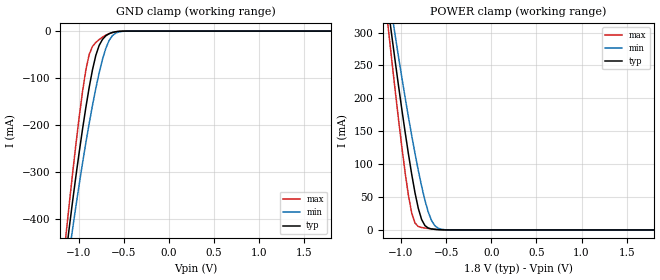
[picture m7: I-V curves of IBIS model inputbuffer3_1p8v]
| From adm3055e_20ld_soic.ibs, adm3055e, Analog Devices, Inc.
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|   Model: inputbuffer3_1p8v
[Model]   inputbuffer3_1p8v
Model_type Input
Vinl=0.63
Vinh=1.17
|   variable   typ   min   max
C_comp   2.711574e-12 2.536137e-12 2.929808e-12
[Temperature Range]   25   105   -40
[Voltage Range]   1.8   1.7   1.9
[Power Clamp Reference] 1.8   1.7   1.9
[GND Clamp Reference]   0   0   0
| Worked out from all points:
|   GND clamp passes 1 mA (typ) near -0.57 V on its own axis
|   POWER clamp passes 1 mA (typ) near -0.63 V on its own axis
[Power_clamp]
| Voltage   I(typ)   I(min)   I(max)
-1.8V     1.134A     1.044A     1.248A
-1.139V   333.9mA    363.3mA    303.8mA
-1.102V   295.1mA    329.4mA    257.8mA
-1.065V   257.2mA    296.3mA    212.9mA
-991.8mV  184.2mA    232.5mA    127.3mA
-918.4mV  116.1mA    172.2mA    53.1mA
-881.6mV  84.8mA     143.6mA    25.9mA
-808.2mV  32.75mA    90.35mA    5.267mA
-734.7mV  6.617mA    44.98mA    2.925mA
-661.2mV  1.517mA    14.2mA     1.58mA
-551mV    279.1uA    1.008mA    312.6uA
1.8V      -29.23pA   -2.186nA   -22.52pA
[GND_clamp]
| Voltage   I(typ)   I(min)   I(max)
-1.8V     -1.697A    -1.551A    -1.895A
-1.139V   -474.8mA   -521.7mA   -433.2mA
-1.102V   -417mA     -470.3mA   -366.4mA
-1.065V   -361.3mA   -420.3mA   -302.1mA
-991.8mV  -256.6mA   -324.9mA   -181.8mA
-918.4mV  -162mA     -236.9mA   -82.3mA
-881.6mV  -119.5mA   -196.1mA   -49.59mA
-808.2mV  -51.57mA   -121.7mA   -24.26mA
-734.7mV  -17.79mA   -60.3mA    -12.79mA
-624.5mV  -2.923mA   -9.734mA   -3.006mA
-514.3mV  -191.9uA   -608.1uA   -177.4uA
1.8V      51.5pA     3.167nA    47.22pA
